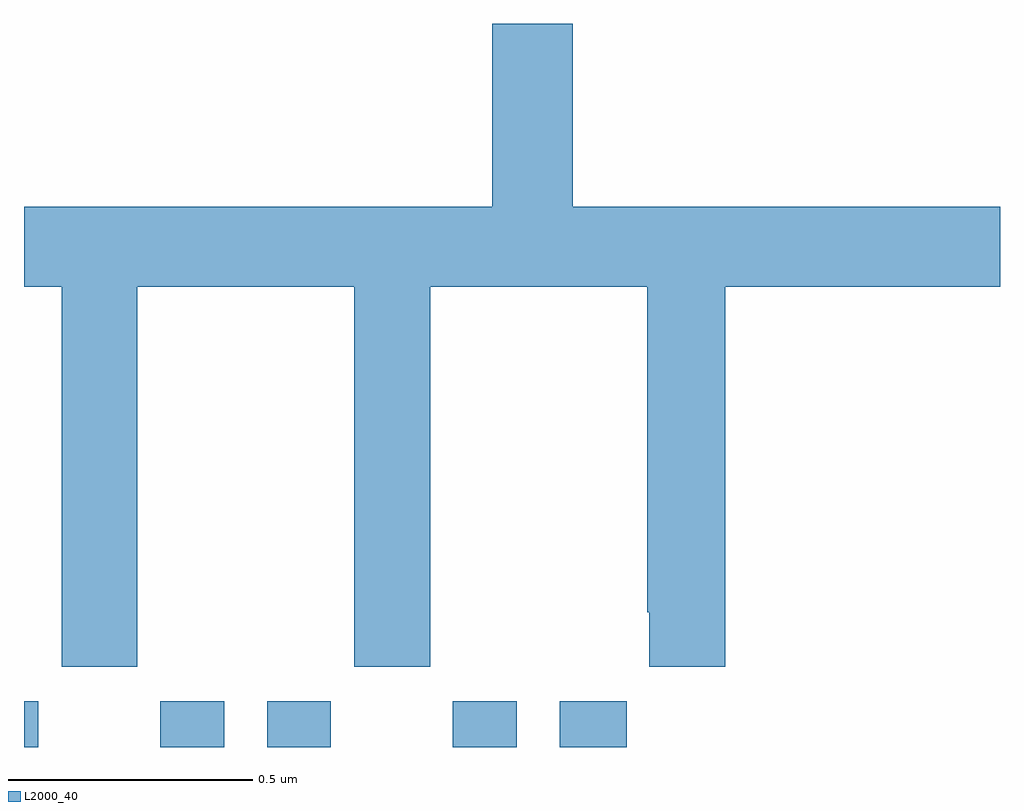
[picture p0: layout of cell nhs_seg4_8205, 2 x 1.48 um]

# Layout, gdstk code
import gdstk
lib = gdstk.Library(unit=1e-6, precision=1e-09)
def R(c, l, rs):  # rectangles x0, y0, x1, y1
    for r in rs: c.add(gdstk.rectangle(r[:2], r[2:], *l))
def P(c, l, *ps):  # polygons
    for p in ps: c.add(gdstk.Polygon(p, *l))
L2000_40 = (2000, 40)

nhs_seg4_8205 = lib.new_cell('nhs_seg4_8205')
R(nhs_seg4_8205, L2000_40, [(212,771.9,212.029,771.994), (212.279,771.9,212.41,771.994), (212.498,771.9,212.629,771.994), (212.879,771.9,213.01,771.994), (213.098,771.9,213.235,771.994)])
P(nhs_seg4_8205, L2000_40, [(213.124,773.383),(212.96,773.383),(212.96,773.008),(212,773.008),(212,772.844),(212.077,772.844),(212.077,772.065),(212.232,772.065),(212.232,772.844),(212.677,772.844),(212.677,772.065),(212.832,772.065),(212.832,772.844),(213.277,772.844),(213.277,772.177),(213.281,772.177),(213.281,772.065),(213.437,772.065),(213.437,772.844),(214,772.844),(214,773.008),(213.124,773.008)])

lib.write_gds('nhs_seg4_8205.gds')
